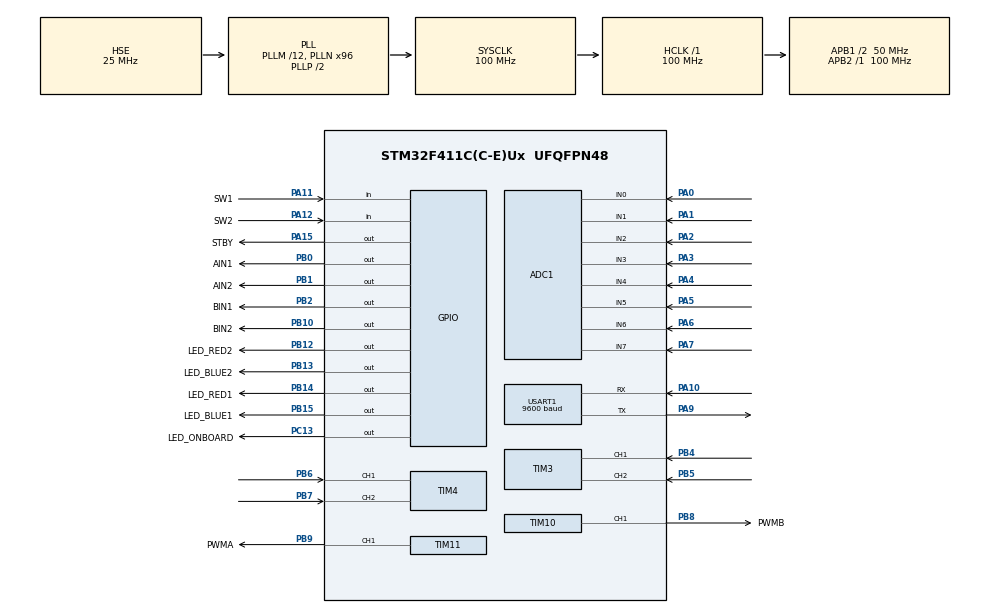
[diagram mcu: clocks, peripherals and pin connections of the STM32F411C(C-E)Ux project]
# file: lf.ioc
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ADC1.Channel-0\#ChannelRegularConversion=ADC_CHANNEL_0
ADC1.Channel-1\#ChannelRegularConversion=ADC_CHANNEL_1
ADC1.Channel-2\#ChannelRegularConversion=ADC_CHANNEL_2
ADC1.Channel-3\#ChannelRegularConversion=ADC_CHANNEL_3
ADC1.Channel-4\#ChannelRegularConversion=ADC_CHANNEL_4
ADC1.Channel-5\#ChannelRegularConversion=ADC_CHANNEL_5
ADC1.Channel-6\#ChannelRegularConversion=ADC_CHANNEL_6
ADC1.Channel-7\#ChannelRegularConversion=ADC_CHANNEL_7
ADC1.ClockPrescaler=ADC_CLOCK_SYNC_PCLK_DIV8
ADC1.ContinuousConvMode=ENABLE
ADC1.DMAContinuousRequests=ENABLE
ADC1.NbrOfConversion=8
ADC1.NbrOfConversionFlag=1
ADC1.Rank-0\#ChannelRegularConversion=1
ADC1.Rank-1\#ChannelRegularConversion=2
ADC1.Rank-2\#ChannelRegularConversion=3
ADC1.Rank-3\#ChannelRegularConversion=4
ADC1.Rank-4\#ChannelRegularConversion=5
ADC1.Rank-5\#ChannelRegularConversion=6
ADC1.Rank-6\#ChannelRegularConversion=7
ADC1.Rank-7\#ChannelRegularConversion=8
ADC1.SamplingTime-0\#ChannelRegularConversion=ADC_SAMPLETIME_28CYCLES
ADC1.SamplingTime-1\#ChannelRegularConversion=ADC_SAMPLETIME_28CYCLES
ADC1.SamplingTime-2\#ChannelRegularConversion=ADC_SAMPLETIME_28CYCLES
ADC1.SamplingTime-3\#ChannelRegularConversion=ADC_SAMPLETIME_28CYCLES
ADC1.SamplingTime-4\#ChannelRegularConversion=ADC_SAMPLETIME_28CYCLES
ADC1.SamplingTime-5\#ChannelRegularConversion=ADC_SAMPLETIME_28CYCLES
ADC1.SamplingTime-6\#ChannelRegularConversion=ADC_SAMPLETIME_28CYCLES
ADC1.SamplingTime-7\#ChannelRegularConversion=ADC_SAMPLETIME_28CYCLES
ADC1.master=1
Dma.ADC1.0.Direction=DMA_PERIPH_TO_MEMORY
Dma.ADC1.0.FIFOMode=DMA_FIFOMODE_DISABLE
Dma.ADC1.0.Instance=DMA2_Stream0
Dma.ADC1.0.MemDataAlignment=DMA_MDATAALIGN_HALFWORD
Dma.ADC1.0.MemInc=DMA_MINC_ENABLE
Dma.ADC1.0.Mode=DMA_CIRCULAR
Dma.ADC1.0.PeriphDataAlignment=DMA_PDATAALIGN_HALFWORD
Dma.ADC1.0.PeriphInc=DMA_PINC_DISABLE
Dma.ADC1.0.Priority=DMA_PRIORITY_LOW
Dma.Request0=ADC1
Mcu.Family=STM32F4
Mcu.Name=STM32F411C(C-E)Ux
Mcu.Package=UFQFPN48
NVIC.DMA2_Stream0_IRQn=true\:0\:0\:false\:false\:true\:false\:true\:true
NVIC.PriorityGroup=NVIC_PRIORITYGROUP_4
NVIC.TIM1_BRK_TIM9_IRQn=true\:0\:0\:false\:false\:true\:true\:true\:true
NVIC.TIM5_IRQn=true\:0\:0\:false\:false\:true\:true\:true\:true
NVIC.USART1_IRQn=true\:1\:0\:true\:false\:true\:true\:true\:true
PA0-WKUP.Signal=ADCx_IN0
PA1.Signal=ADCx_IN1
PA10.Mode=Asynchronous
PA10.Signal=USART1_RX
PA11.GPIO_Label=SW1
PA11.GPIO_PuPd=GPIO_PULLDOWN
PA11.Signal=GPIO_Input
PA12.GPIO_Label=SW2
PA12.GPIO_PuPd=GPIO_PULLDOWN
PA12.Signal=GPIO_Input
PA13.Mode=Serial_Wire
PA13.Signal=SYS_JTMS-SWDIO
PA14.Mode=Serial_Wire
PA14.Signal=SYS_JTCK-SWCLK
PA15.GPIO_Label=STBY
PA15.Signal=GPIO_Output
PA2.Signal=ADCx_IN2
PA3.Signal=ADCx_IN3
PA4.Signal=ADCx_IN4
PA5.Signal=ADCx_IN5
PA6.Signal=ADCx_IN6
PA7.Signal=ADCx_IN7
PA9.Mode=Asynchronous
PA9.Signal=USART1_TX
PB0.GPIO_Label=AIN1
PB0.Signal=GPIO_Output
PB1.GPIO_Label=AIN2
PB1.Signal=GPIO_Output
PB10.GPIO_Label=BIN2
PB10.Signal=GPIO_Output
PB12.GPIO_Label=LED_RED2
PB12.Signal=GPIO_Output
PB13.GPIO_Label=LED_BLUE2
PB13.Signal=GPIO_Output
PB14.GPIO_Label=LED_RED1
PB14.Signal=GPIO_Output
PB15.GPIO_Label=LED_BLUE1
PB15.Signal=GPIO_Output
PB2.GPIO_Label=BIN1
PB2.Signal=GPIO_Output
PB4.Signal=S_TIM3_CH1
PB5.Signal=S_TIM3_CH2
PB6.Signal=S_TIM4_CH1
PB7.Signal=S_TIM4_CH2
PB8.GPIO_Label=PWMB
PB8.Signal=S_TIM10_CH1
PB9.GPIO_Label=PWMA
PB9.Signal=S_TIM11_CH1
PC13-ANTI_TAMP.GPIO_Label=LED_ONBOARD
PC13-ANTI_TAMP.Signal=GPIO_Output
PH0\ -\ OSC_IN.Mode=HSE-External-Oscillator
PH0\ -\ OSC_IN.Signal=RCC_OSC_IN
PH1\ -\ OSC_OUT.Mode=HSE-External-Oscillator
PH1\ -\ OSC_OUT.Signal=RCC_OSC_OUT
ProjectManager.HeapSize=0x200
ProjectManager.StackSize=0x400
ProjectManager.TargetToolchain=Makefile
RCC.48MHZClocksFreq_Value=50000000
RCC.AHBFreq_Value=100000000
RCC.APB1CLKDivider=RCC_HCLK_DIV2
RCC.APB1Freq_Value=50000000
RCC.APB1TimFreq_Value=100000000
RCC.APB2Freq_Value=100000000
RCC.APB2TimFreq_Value=100000000
RCC.CortexFreq_Value=100000000
RCC.HCLKFreq_Value=100000000
RCC.HSE_VALUE=25000000
RCC.HSI_VALUE=16000000
RCC.LSE_VALUE=32768
RCC.PLLM=12
RCC.PLLN=96
RCC.PLLSourceVirtual=RCC_PLLSOURCE_HSE
RCC.SYSCLKFreq_VALUE=100000000
RCC.SYSCLKSource=RCC_SYSCLKSOURCE_PLLCLK
RCC.VCOOutputFreq_Value=200000000
SH.ADCx_IN0.0=ADC1_IN0,IN0
SH.ADCx_IN1.0=ADC1_IN1,IN1
SH.ADCx_IN2.0=ADC1_IN2,IN2
SH.ADCx_IN3.0=ADC1_IN3,IN3
SH.ADCx_IN4.0=ADC1_IN4,IN4
SH.ADCx_IN5.0=ADC1_IN5,IN5
SH.ADCx_IN6.0=ADC1_IN6,IN6
SH.ADCx_IN7.0=ADC1_IN7,IN7
SH.S_TIM10_CH1.0=TIM10_CH1,PWM Generation1 CH1
SH.S_TIM11_CH1.0=TIM11_CH1,PWM Generation1 CH1
SH.S_TIM3_CH1.0=TIM3_CH1,Encoder_Interface
SH.S_TIM3_CH2.0=TIM3_CH2,Encoder_Interface
SH.S_TIM4_CH1.0=TIM4_CH1,Encoder_Interface
SH.S_TIM4_CH2.0=TIM4_CH2,Encoder_Interface
TIM10.Channel=TIM_CHANNEL_1
TIM10.Period=1000
TIM10.Prescaler=20
TIM11.Channel=TIM_CHANNEL_1
TIM11.Period=1000
TIM11.Prescaler=20
TIM3.AutoReloadPreload=TIM_AUTORELOAD_PRELOAD_ENABLE
TIM3.EncoderMode=TIM_ENCODERMODE_TI12
TIM4.AutoReloadPreload=TIM_AUTORELOAD_PRELOAD_ENABLE
TIM4.EncoderMode=TIM_ENCODERMODE_TI12
TIM5.Period=100
TIM5.Prescaler=1000
TIM9.Period=1000
TIM9.Prescaler=1000
USART1.BaudRate=9600
USART1.VirtualMode=VM_ASYNC
VP_TIM10_VS_ClockSourceINT.Mode=Enable_Timer
VP_TIM11_VS_ClockSourceINT.Mode=Enable_Timer
VP_TIM5_VS_ClockSourceINT.Mode=Internal
VP_TIM9_VS_ClockSourceINT.Mode=Internal
board=custom

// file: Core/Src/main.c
/* USER CODE BEGIN Header */
/**
  ******************************************************************************
  * @file           : main.c
  * @brief          : Main program body
  ******************************************************************************
  * @attention
  *
  * <h2><center>&copy; Copyright (c) 2022 STMicroelectronics.
  * All rights reserved.</center></h2>
  *
  * This software component is licensed by ST under BSD 3-Clause license,
  * the "License"; You may not use this file except in compliance with the
  * License. You may obtain a copy of the License at:
  *                        opensource.org/licenses/BSD-3-Clause
  *
  ******************************************************************************
  */
/* USER CODE END Header */
#include "main.h"

/* USER CODE BEGIN Includes */
#include "motors.h"
#include "sensors.h"
#include "uart_handler.h"
/* USER CODE END Includes */

/* USER CODE BEGIN PD */
#define P_velocity 13

/* USER CODE END PD */

ADC_HandleTypeDef hadc1;
DMA_HandleTypeDef hdma_adc1;

TIM_HandleTypeDef htim3;
TIM_HandleTypeDef htim4;
TIM_HandleTypeDef htim5;
TIM_HandleTypeDef htim9;
TIM_HandleTypeDef htim10;
TIM_HandleTypeDef htim11;

UART_HandleTypeDef huart1;

/* USER CODE BEGIN PV */
int velocity_LEFT;
int velocity_RIGHT;
int velocity_ARRAY_LEFT[4] = {0,0,0,0};
int velocity_ARRAY_RIGHT[4] = {0,0,0,0};
int flt_cnt = 0;
extern uint16_t sensor_readings[8];
int angle = 0;
int BASE_SPEED = 0;
extern uint8_t recieve;
int auto_control_flag = 0;
/* USER CODE END PV */

void SystemClock_Config(void);
static void MX_GPIO_Init(void);
static void MX_DMA_Init(void);
static void MX_TIM10_Init(void);
static void MX_TIM11_Init(void);
static void MX_TIM3_Init(void);
static void MX_TIM4_Init(void);
static void MX_ADC1_Init(void);
static void MX_USART1_UART_Init(void);
static void MX_TIM9_Init(void);
static void MX_TIM5_Init(void);

/* USER CODE BEGIN 0 */

int get_average(int* arr,int size){
  int avr = 0;
  int div = size;
  for(int i=0;i<size;i++){
    if(arr[i]>2000){
      div--;
    }
    else
      avr+=arr[i];
  }
  return avr/div;
}
void HAL_TIM_PeriodElapsedCallback(TIM_HandleTypeDef *htim){
  static uint16_t last_enc_LEFT = 32000;
  static uint16_t last_enc_RIGHT = 32000;
  static int velocity_LEFT_TMP;
  static int velocity_RIGHT_TMP;
  if(htim == &htim9){
    velocity_LEFT = (int)(((int)last_enc_LEFT - ENCODER_LEFT)*CONVERSION_COEFFICIENT);
    velocity_RIGHT =(int)((-(int)last_enc_RIGHT + ENCODER_RIGHT)*CONVERSION_COEFFICIENT);
    // velocity_ARRAY_LEFT[flt_cnt%4] = velocity_LEFT_TMP;
    // velocity_ARRAY_RIGHT[flt_cnt%4] = velocity_RIGHT_TMP;
    // velocity_LEFT = get_average(velocity_ARRAY_LEFT, 4);
    // velocity_RIGHT = get_average(velocity_ARRAY_RIGHT, 4);
    // velocity_LEFT = velocity_LEFT_TMP;
    // velocity_LEFT = velocity_RIGHT_TMP;
    flt_cnt+=1;
    last_enc_LEFT = ENCODER_LEFT;
    last_enc_RIGHT = ENCODER_RIGHT;
  }
  if(htim == &htim5){
    if(auto_control_flag){
      angle = estimate_angle(sensor_readings);
      set_velocity(MOTOR_LEFT,P_velocity*angle+BASE_SPEED);
      set_velocity(MOTOR_RIGHT, -P_velocity*angle+BASE_SPEED);
  }
      velocity_pid();
  }
}

void led_check(){
  HAL_GPIO_WritePin(GPIOB, LED_RED1_Pin,1);
  HAL_Delay(200);
  HAL_GPIO_WritePin(GPIOB, LED_BLUE1_Pin, 1);
  HAL_Delay(200);
  HAL_GPIO_WritePin(GPIOB, LED_BLUE2_Pin, 1);
  HAL_Delay(200);
  HAL_GPIO_WritePin(GPIOB, LED_RED2_Pin, 1);
  HAL_Delay(200);
  HAL_GPIO_WritePin(GPIOB, LED_RED1_Pin,0);
  HAL_Delay(200);
  HAL_GPIO_WritePin(GPIOB, LED_BLUE1_Pin, 0);
  HAL_Delay(200);
  HAL_GPIO_WritePin(GPIOB, LED_BLUE2_Pin, 0);
  HAL_Delay(200);
  HAL_GPIO_WritePin(GPIOB, LED_RED2_Pin, 0);
}

/* USER CODE END 0 */

int main(void)
{

  /* MCU Configuration--------------------------------------------------------*/

  /* Reset of all peripherals, Initializes the Flash interface and the Systick. */
  HAL_Init();

  /* Configure the system clock */
  SystemClock_Config();

  /* Initialize all configured peripherals */
  MX_GPIO_Init();
  MX_DMA_Init();
  MX_TIM10_Init();
  MX_TIM11_Init();
  MX_TIM3_Init();
  MX_TIM4_Init();
  MX_ADC1_Init();
  MX_USART1_UART_Init();
  MX_TIM9_Init();
  MX_TIM5_Init();
  /* USER CODE BEGIN 2 */
  HAL_TIM_Base_Start_IT(&htim9);
  HAL_TIM_PWM_Start(&htim10, TIM_CHANNEL_1);
  HAL_TIM_PWM_Start(&htim11, TIM_CHANNEL_1);
  TIM3->CNT = 32000;
  TIM4->CNT = 32000;
  char buffer[30];
  int l;
  HAL_TIM_Encoder_Start(&htim3, TIM_CHANNEL_ALL);
  HAL_TIM_Encoder_Start(&htim4, TIM_CHANNEL_ALL);
  HAL_GPIO_WritePin(STBY_GPIO_Port, STBY_Pin, 1);
  HAL_GPIO_WritePin(STBY_GPIO_Port, STBY_Pin, 1);
  led_check();
  HAL_UART_Receive_IT(&huart1, &recieve, 1);
  HAL_ADC_Start_DMA(&hadc1,  (uint32_t *)sensor_readings, 8);
  HAL_Delay(200);
  HAL_TIM_Base_Start_IT(&htim5);

  /* USER CODE END 2 */

  /* Infinite loop */
  /* USER CODE BEGIN WHILE */
  while (1)
  {
      HAL_Delay(300);
      if(HAL_GPIO_ReadPin(SW2_GPIO_Port, SW2_Pin)){
        auto_control_flag = 1;
        BASE_SPEED = 120;
      }
      //l = sprintf(buffer, "%d %d %d %d %d %d %d %d\n",sensor_readings[0],sensor_readings[1],sensor_readings[2],sensor_readings[3],sensor_readings[4],sensor_readings[5],sensor_readings[6],sensor_readings[7]);
      // l = sprintf(buffer, "%d %d %d\n", velocity_LEFT, velocity_RIGHT, estimate_angle(sensor_readings));
      // HAL_UART_Transmit(&huart1, buffer, l, 100);
      //HAL_Delay(3);
    /* USER CODE END WHILE */

  }
}

void SystemClock_Config(void)
{
  RCC_OscInitTypeDef RCC_OscInitStruct = {0};
  RCC_ClkInitTypeDef RCC_ClkInitStruct = {0};

  /** Configure the main internal regulator output voltage
  */
  __HAL_RCC_PWR_CLK_ENABLE();
  __HAL_PWR_VOLTAGESCALING_CONFIG(PWR_REGULATOR_VOLTAGE_SCALE1);
  /** Initializes the RCC Oscillators according to the specified parameters
  * in the RCC_OscInitTypeDef structure.
  */
  RCC_OscInitStruct.OscillatorType = RCC_OSCILLATORTYPE_HSE;
  RCC_OscInitStruct.HSEState = RCC_HSE_ON;
  RCC_OscInitStruct.PLL.PLLState = RCC_PLL_ON;
  RCC_OscInitStruct.PLL.PLLSource = RCC_PLLSOURCE_HSE;
  RCC_OscInitStruct.PLL.PLLM = 12;
  RCC_OscInitStruct.PLL.PLLN = 96;
  RCC_OscInitStruct.PLL.PLLP = RCC_PLLP_DIV2;
  RCC_OscInitStruct.PLL.PLLQ = 4;
  if (HAL_RCC_OscConfig(&RCC_OscInitStruct) != HAL_OK)
  {
    Error_Handler();
  }
  /** Initializes the CPU, AHB and APB buses clocks
  */
  RCC_ClkInitStruct.ClockType = RCC_CLOCKTYPE_HCLK|RCC_CLOCKTYPE_SYSCLK
                              |RCC_CLOCKTYPE_PCLK1|RCC_CLOCKTYPE_PCLK2;
  RCC_ClkInitStruct.SYSCLKSource = RCC_SYSCLKSOURCE_PLLCLK;
  RCC_ClkInitStruct.AHBCLKDivider = RCC_SYSCLK_DIV1;
  RCC_ClkInitStruct.APB1CLKDivider = RCC_HCLK_DIV2;
  RCC_ClkInitStruct.APB2CLKDivider = RCC_HCLK_DIV1;

  if (HAL_RCC_ClockConfig(&RCC_ClkInitStruct, FLASH_LATENCY_3) != HAL_OK)
  {
    Error_Handler();
  }
}

static void MX_ADC1_Init(void)
{

  ADC_ChannelConfTypeDef sConfig = {0};

  /** Configure the global features of the ADC (Clock, Resolution, Data Alignment and number of conversion)
  */
  hadc1.Instance = ADC1;
  hadc1.Init.ClockPrescaler = ADC_CLOCK_SYNC_PCLK_DIV8;
  hadc1.Init.Resolution = ADC_RESOLUTION_12B;
  hadc1.Init.ScanConvMode = ENABLE;
  hadc1.Init.ContinuousConvMode = ENABLE;
  hadc1.Init.DiscontinuousConvMode = DISABLE;
  hadc1.Init.ExternalTrigConvEdge = ADC_EXTERNALTRIGCONVEDGE_NONE;
  hadc1.Init.ExternalTrigConv = ADC_SOFTWARE_START;
  hadc1.Init.DataAlign = ADC_DATAALIGN_RIGHT;
  hadc1.Init.NbrOfConversion = 8;
  hadc1.Init.DMAContinuousRequests = ENABLE;
  hadc1.Init.EOCSelection = ADC_EOC_SINGLE_CONV;
  if (HAL_ADC_Init(&hadc1) != HAL_OK)
  {
    Error_Handler();
  }
  /** Configure for the selected ADC regular channel its corresponding rank in the sequencer and its sample time.
  */
  sConfig.Channel = ADC_CHANNEL_0;
  sConfig.Rank = 1;
  sConfig.SamplingTime = ADC_SAMPLETIME_28CYCLES;
  if (HAL_ADC_ConfigChannel(&hadc1, &sConfig) != HAL_OK)
  {
    Error_Handler();
  }
  /** Configure for the selected ADC regular channel its corresponding rank in the sequencer and its sample time.
  */
  sConfig.Channel = ADC_CHANNEL_1;
  sConfig.Rank = 2;
  if (HAL_ADC_ConfigChannel(&hadc1, &sConfig) != HAL_OK)
  {
    Error_Handler();
  }
  /** Configure for the selected ADC regular channel its corresponding rank in the sequencer and its sample time.
  */
  sConfig.Channel = ADC_CHANNEL_2;
  sConfig.Rank = 3;
  if (HAL_ADC_ConfigChannel(&hadc1, &sConfig) != HAL_OK)
  {
    Error_Handler();
  }
  /** Configure for the selected ADC regular channel its corresponding rank in the sequencer and its sample time.
  */
  sConfig.Channel = ADC_CHANNEL_3;
  sConfig.Rank = 4;
  if (HAL_ADC_ConfigChannel(&hadc1, &sConfig) != HAL_OK)
  {
    Error_Handler();
  }
  /** Configure for the selected ADC regular channel its corresponding rank in the sequencer and its sample time.
  */
  sConfig.Channel = ADC_CHANNEL_4;
  sConfig.Rank = 5;
  if (HAL_ADC_ConfigChannel(&hadc1, &sConfig) != HAL_OK)
  {
    Error_Handler();
  }
  /** Configure for the selected ADC regular channel its corresponding rank in the sequencer and its sample time.
  */
  sConfig.Channel = ADC_CHANNEL_5;
  sConfig.Rank = 6;
  if (HAL_ADC_ConfigChannel(&hadc1, &sConfig) != HAL_OK)
  {
    Error_Handler();
  }
  /** Configure for the selected ADC regular channel its corresponding rank in the sequencer and its sample time.
  */
  sConfig.Channel = ADC_CHANNEL_6;
  sConfig.Rank = 7;
  if (HAL_ADC_ConfigChannel(&hadc1, &sConfig) != HAL_OK)
  {
    Error_Handler();
  }
  /** Configure for the selected ADC regular channel its corresponding rank in the sequencer and its sample time.
  */
  sConfig.Channel = ADC_CHANNEL_7;
  sConfig.Rank = 8;
  if (HAL_ADC_ConfigChannel(&hadc1, &sConfig) != HAL_OK)
  {
    Error_Handler();
  }

}

static void MX_TIM3_Init(void)
{

  TIM_Encoder_InitTypeDef sConfig = {0};
  TIM_MasterConfigTypeDef sMasterConfig = {0};

  htim3.Instance = TIM3;
  htim3.Init.Prescaler = 0;
  htim3.Init.CounterMode = TIM_COUNTERMODE_UP;
  htim3.Init.Period = 65535;
  htim3.Init.ClockDivision = TIM_CLOCKDIVISION_DIV1;
  htim3.Init.AutoReloadPreload = TIM_AUTORELOAD_PRELOAD_ENABLE;
  sConfig.EncoderMode = TIM_ENCODERMODE_TI12;
  sConfig.IC1Polarity = TIM_ICPOLARITY_RISING;
  sConfig.IC1Selection = TIM_ICSELECTION_DIRECTTI;
  sConfig.IC1Prescaler = TIM_ICPSC_DIV1;
  sConfig.IC1Filter = 0;
  sConfig.IC2Polarity = TIM_ICPOLARITY_RISING;
  sConfig.IC2Selection = TIM_ICSELECTION_DIRECTTI;
  sConfig.IC2Prescaler = TIM_ICPSC_DIV1;
  sConfig.IC2Filter = 0;
  if (HAL_TIM_Encoder_Init(&htim3, &sConfig) != HAL_OK)
  {
    Error_Handler();
  }
  sMasterConfig.MasterOutputTrigger = TIM_TRGO_RESET;
  sMasterConfig.MasterSlaveMode = TIM_MASTERSLAVEMODE_DISABLE;
  if (HAL_TIMEx_MasterConfigSynchronization(&htim3, &sMasterConfig) != HAL_OK)
  {
    Error_Handler();
  }

}

static void MX_TIM4_Init(void)
{

  TIM_Encoder_InitTypeDef sConfig = {0};
  TIM_MasterConfigTypeDef sMasterConfig = {0};

  htim4.Instance = TIM4;
  htim4.Init.Prescaler = 0;
  htim4.Init.CounterMode = TIM_COUNTERMODE_UP;
  htim4.Init.Period = 65535;
  htim4.Init.ClockDivision = TIM_CLOCKDIVISION_DIV1;
  htim4.Init.AutoReloadPreload = TIM_AUTORELOAD_PRELOAD_ENABLE;
  sConfig.EncoderMode = TIM_ENCODERMODE_TI12;
  sConfig.IC1Polarity = TIM_ICPOLARITY_RISING;
  sConfig.IC1Selection = TIM_ICSELECTION_DIRECTTI;
  sConfig.IC1Prescaler = TIM_ICPSC_DIV1;
  sConfig.IC1Filter = 0;
  sConfig.IC2Polarity = TIM_ICPOLARITY_RISING;
  sConfig.IC2Selection = TIM_ICSELECTION_DIRECTTI;
  sConfig.IC2Prescaler = TIM_ICPSC_DIV1;
  sConfig.IC2Filter = 0;
  if (HAL_TIM_Encoder_Init(&htim4, &sConfig) != HAL_OK)
  {
    Error_Handler();
  }
  sMasterConfig.MasterOutputTrigger = TIM_TRGO_RESET;
  sMasterConfig.MasterSlaveMode = TIM_MASTERSLAVEMODE_DISABLE;
  if (HAL_TIMEx_MasterConfigSynchronization(&htim4, &sMasterConfig) != HAL_OK)
  {
    Error_Handler();
  }

}

static void MX_TIM5_Init(void)
{

  TIM_ClockConfigTypeDef sClockSourceConfig = {0};
  TIM_MasterConfigTypeDef sMasterConfig = {0};

  htim5.Instance = TIM5;
  htim5.Init.Prescaler = 1000;
  htim5.Init.CounterMode = TIM_COUNTERMODE_UP;
  htim5.Init.Period = 100;
  htim5.Init.ClockDivision = TIM_CLOCKDIVISION_DIV1;
  htim5.Init.AutoReloadPreload = TIM_AUTORELOAD_PRELOAD_DISABLE;
  if (HAL_TIM_Base_Init(&htim5) != HAL_OK)
  {
    Error_Handler();
  }
  sClockSourceConfig.ClockSource = TIM_CLOCKSOURCE_INTERNAL;
  if (HAL_TIM_ConfigClockSource(&htim5, &sClockSourceConfig) != HAL_OK)
  {
    Error_Handler();
  }
  sMasterConfig.MasterOutputTrigger = TIM_TRGO_RESET;
  sMasterConfig.MasterSlaveMode = TIM_MASTERSLAVEMODE_DISABLE;
  if (HAL_TIMEx_MasterConfigSynchronization(&htim5, &sMasterConfig) != HAL_OK)
  {
    Error_Handler();
  }

}

static void MX_TIM9_Init(void)
{

  TIM_ClockConfigTypeDef sClockSourceConfig = {0};

  htim9.Instance = TIM9;
  htim9.Init.Prescaler = 1000;
  htim9.Init.CounterMode = TIM_COUNTERMODE_UP;
  htim9.Init.Period = 1000;
  htim9.Init.ClockDivision = TIM_CLOCKDIVISION_DIV1;
  htim9.Init.AutoReloadPreload = TIM_AUTORELOAD_PRELOAD_DISABLE;
  if (HAL_TIM_Base_Init(&htim9) != HAL_OK)
  {
    Error_Handler();
  }
  sClockSourceConfig.ClockSource = TIM_CLOCKSOURCE_INTERNAL;
  if (HAL_TIM_ConfigClockSource(&htim9, &sClockSourceConfig) != HAL_OK)
  {
    Error_Handler();
  }

}

static void MX_TIM10_Init(void)
{

  TIM_OC_InitTypeDef sConfigOC = {0};

  htim10.Instance = TIM10;
  htim10.Init.Prescaler = 20;
  htim10.Init.CounterMode = TIM_COUNTERMODE_UP;
  htim10.Init.Period = 1000;
  htim10.Init.ClockDivision = TIM_CLOCKDIVISION_DIV1;
  htim10.Init.AutoReloadPreload = TIM_AUTORELOAD_PRELOAD_DISABLE;
  if (HAL_TIM_Base_Init(&htim10) != HAL_OK)
  {
    Error_Handler();
  }
  if (HAL_TIM_PWM_Init(&htim10) != HAL_OK)
  {
    Error_Handler();
  }
  sConfigOC.OCMode = TIM_OCMODE_PWM1;
  sConfigOC.Pulse = 0;
  sConfigOC.OCPolarity = TIM_OCPOLARITY_HIGH;
  sConfigOC.OCFastMode = TIM_OCFAST_DISABLE;
  if (HAL_TIM_PWM_ConfigChannel(&htim10, &sConfigOC, TIM_CHANNEL_1) != HAL_OK)
  {
    Error_Handler();
  }
  HAL_TIM_MspPostInit(&htim10);

}

static void MX_TIM11_Init(void)
{

  TIM_OC_InitTypeDef sConfigOC = {0};

  htim11.Instance = TIM11;
  htim11.Init.Prescaler = 20;
  htim11.Init.CounterMode = TIM_COUNTERMODE_UP;
  htim11.Init.Period = 1000;
  htim11.Init.ClockDivision = TIM_CLOCKDIVISION_DIV1;
  htim11.Init.AutoReloadPreload = TIM_AUTORELOAD_PRELOAD_DISABLE;
  if (HAL_TIM_Base_Init(&htim11) != HAL_OK)
  {
    Error_Handler();
  }
  if (HAL_TIM_PWM_Init(&htim11) != HAL_OK)
  {
    Error_Handler();
  }
  sConfigOC.OCMode = TIM_OCMODE_PWM1;
  sConfigOC.Pulse = 0;
  sConfigOC.OCPolarity = TIM_OCPOLARITY_HIGH;
  sConfigOC.OCFastMode = TIM_OCFAST_DISABLE;
  if (HAL_TIM_PWM_ConfigChannel(&htim11, &sConfigOC, TIM_CHANNEL_1) != HAL_OK)
  {
    Error_Handler();
  }
  HAL_TIM_MspPostInit(&htim11);

}

static void MX_USART1_UART_Init(void)
{

  huart1.Instance = USART1;
  huart1.Init.BaudRate = 9600;
  huart1.Init.WordLength = UART_WORDLENGTH_8B;
  huart1.Init.StopBits = UART_STOPBITS_1;
  huart1.Init.Parity = UART_PARITY_NONE;
  huart1.Init.Mode = UART_MODE_TX_RX;
  huart1.Init.HwFlowCtl = UART_HWCONTROL_NONE;
  huart1.Init.OverSampling = UART_OVERSAMPLING_16;
  if (HAL_UART_Init(&huart1) != HAL_OK)
  {
    Error_Handler();
  }

}

static void MX_DMA_Init(void)
{

  /* DMA controller clock enable */
  __HAL_RCC_DMA2_CLK_ENABLE();

  /* DMA interrupt init */
  /* DMA2_Stream0_IRQn interrupt configuration */
  HAL_NVIC_SetPriority(DMA2_Stream0_IRQn, 0, 0);
  HAL_NVIC_EnableIRQ(DMA2_Stream0_IRQn);

}

static void MX_GPIO_Init(void)
{
  GPIO_InitTypeDef GPIO_InitStruct = {0};

  /* GPIO Ports Clock Enable */
  __HAL_RCC_GPIOC_CLK_ENABLE();
  __HAL_RCC_GPIOH_CLK_ENABLE();
  __HAL_RCC_GPIOA_CLK_ENABLE();
  __HAL_RCC_GPIOB_CLK_ENABLE();

  /*Configure GPIO pin Output Level */
  HAL_GPIO_WritePin(LED_ONBOARD_GPIO_Port, LED_ONBOARD_Pin, GPIO_PIN_RESET);

  /*Configure GPIO pin Output Level */
  HAL_GPIO_WritePin(GPIOB, AIN1_Pin|AIN2_Pin|BIN1_Pin|BIN2_Pin
                          |LED_RED2_Pin|LED_BLUE2_Pin|LED_RED1_Pin|LED_BLUE1_Pin, GPIO_PIN_RESET);

  /*Configure GPIO pin Output Level */
  HAL_GPIO_WritePin(STBY_GPIO_Port, STBY_Pin, GPIO_PIN_RESET);

  /*Configure GPIO pin : LED_ONBOARD_Pin */
  GPIO_InitStruct.Pin = LED_ONBOARD_Pin;
  GPIO_InitStruct.Mode = GPIO_MODE_OUTPUT_PP;
  GPIO_InitStruct.Pull = GPIO_NOPULL;
  GPIO_InitStruct.Speed = GPIO_SPEED_FREQ_LOW;
  HAL_GPIO_Init(LED_ONBOARD_GPIO_Port, &GPIO_InitStruct);

  /*Configure GPIO pins : AIN1_Pin AIN2_Pin BIN1_Pin BIN2_Pin
                           LED_RED2_Pin LED_BLUE2_Pin LED_RED1_Pin LED_BLUE1_Pin */
  GPIO_InitStruct.Pin = AIN1_Pin|AIN2_Pin|BIN1_Pin|BIN2_Pin
                          |LED_RED2_Pin|LED_BLUE2_Pin|LED_RED1_Pin|LED_BLUE1_Pin;
  GPIO_InitStruct.Mode = GPIO_MODE_OUTPUT_PP;
  GPIO_InitStruct.Pull = GPIO_NOPULL;
  GPIO_InitStruct.Speed = GPIO_SPEED_FREQ_LOW;
  HAL_GPIO_Init(GPIOB, &GPIO_InitStruct);

  /*Configure GPIO pins : SW1_Pin SW2_Pin */
  GPIO_InitStruct.Pin = SW1_Pin|SW2_Pin;
  GPIO_InitStruct.Mode = GPIO_MODE_INPUT;
  GPIO_InitStruct.Pull = GPIO_PULLDOWN;
  HAL_GPIO_Init(GPIOA, &GPIO_InitStruct);

  /*Configure GPIO pin : STBY_Pin */
  GPIO_InitStruct.Pin = STBY_Pin;
  GPIO_InitStruct.Mode = GPIO_MODE_OUTPUT_PP;
  GPIO_InitStruct.Pull = GPIO_NOPULL;
  GPIO_InitStruct.Speed = GPIO_SPEED_FREQ_LOW;
  HAL_GPIO_Init(STBY_GPIO_Port, &GPIO_InitStruct);

}

void Error_Handler(void)
{
  __disable_irq();
  while (1)
  {
  }
}

/************************ (C) COPYRIGHT STMicroelectronics *****END OF FILE****/
